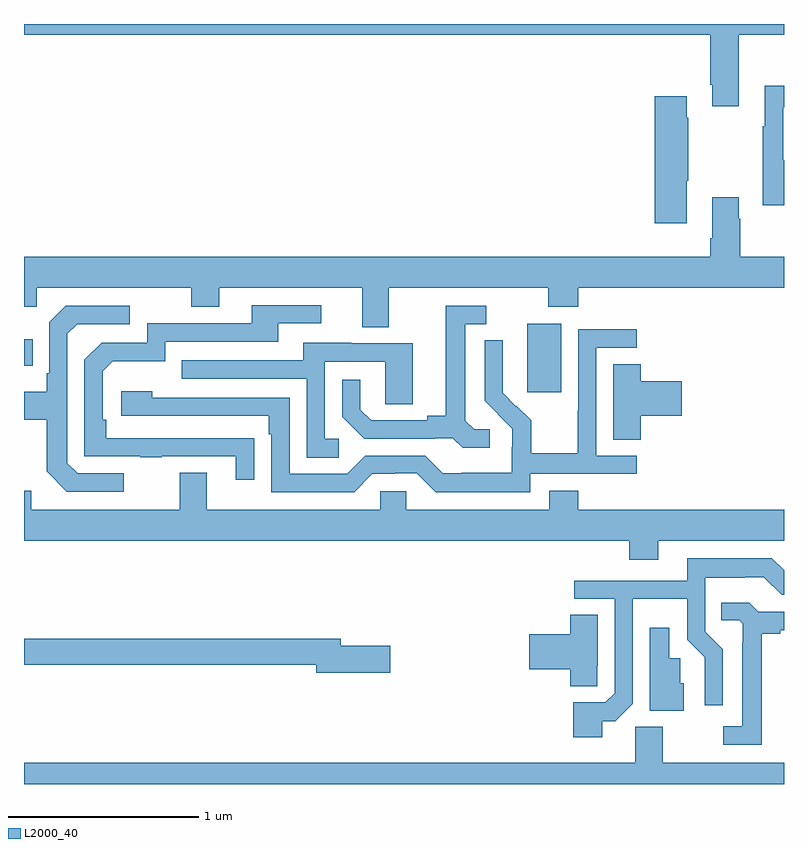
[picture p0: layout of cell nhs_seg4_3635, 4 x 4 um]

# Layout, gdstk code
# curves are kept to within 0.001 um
import gdstk
lib = gdstk.Library(unit=1e-6, precision=1e-09)
def R(c, l, rs):  # rectangles x0, y0, x1, y1
    for r in rs: c.add(gdstk.rectangle(r[:2], r[2:], *l))
def P(c, l, *ps):  # polygons
    for p in ps: c.add(gdstk.Polygon(p, *l))
L2000_40 = (2000, 40)

nhs_seg4_3635 = lib.new_cell('nhs_seg4_3635')
R(nhs_seg4_3635, L2000_40, [(305.648,770.961,305.827,771.322), (303,771.101,303.047,771.241)])
P(nhs_seg4_3635, L2000_40, [(303,772.844),(306.611,772.844),(306.611,772.579),(306.623,772.579),(306.623,772.467),(306.763,772.467),(306.763,772.844),(307,772.844),(307,772.9),(303,772.9)],
  [(307,772.183),(306.996,772.183),(306.996,772.463),(307,772.463),(307,772.576),(306.899,772.576),(306.899,772.363),(306.888,772.363),(306.888,771.947),(307,771.947)],
  [(306.487,772.075),(306.495,772.075),(306.495,772.406),(306.487,772.406),(306.487,772.519),(306.32,772.519),(306.32,771.852),(306.487,771.852)],
  [(304.921,771.512),(305.758,771.512),(305.758,771.413),(305.918,771.413),(305.918,771.512),(307,771.512),(307,771.676),(306.771,771.676),(306.771,771.875),(306.763,771.875),(306.763,771.988),(306.623,771.988),(306.623,771.772),(306.611,771.772),(306.611,771.676),(303,771.676),(303,771.413),(303.066,771.413),(303.066,771.512),(303.88,771.512),(303.88,771.413),(304.027,771.413),(304.027,771.512),(304.781,771.512),(304.781,771.304),(304.921,771.304)],
  [(304.211,770.72),(303.434,770.721),(303.434,770.818),(303.414,770.818),(303.414,771.072),(303.467,771.125),(303.744,771.125),(303.744,771.228),(304.339,771.228),(304.339,771.324),(304.564,771.324),(304.564,771.42),(304.199,771.42),(304.199,771.324),(303.648,771.324),(303.648,771.222),(303.408,771.222),(303.318,771.132),(303.318,770.625),(303.613,770.625),(303.613,770.62),(303.725,770.62),(303.725,770.625),(304.115,770.625),(304.115,770.502),(304.211,770.502)],
  [(303.526,770.535),(303.282,770.535),(303.228,770.589),(303.228,771.27),(303.279,771.321),(303.556,771.321),(303.556,771.417),(303.219,771.417),(303.132,771.33),(303.132,771.061),(303.12,771.061),(303.12,770.965),(303,770.965),(303,770.818),(303.12,770.818),(303.12,770.545),(303.225,770.439),(303.526,770.439)],
  [(305.452,770.766),(305.37,770.766),(305.323,770.813),(305.323,771.321),(305.434,771.321),(305.434,771.417),(305.219,771.417),(305.219,770.837),(305.123,770.837),(305.123,770.814),(304.828,770.814),(304.771,770.871),(304.771,771.028),(304.674,771.028),(304.674,770.834),(304.79,770.718),(305.162,770.718),(305.162,770.721),(305.256,770.721),(305.308,770.669),(305.452,770.669)],
  [(305.664,770.532),(306.226,770.532),(306.226,770.628),(306.012,770.628),(306.012,771.195),(306.226,771.195),(306.226,771.294),(305.916,771.294),(305.916,770.864),(305.914,770.864),(305.914,770.641),(305.669,770.641),(305.669,770.815),(305.592,770.892),(305.589,770.889),(305.519,770.96),(305.52,771.236),(305.424,771.236),(305.424,770.918),(305.57,770.77),(305.57,770.673),(305.568,770.673),(305.568,770.539),(305.305,770.539),(305.305,770.535),(305.205,770.535),(305.112,770.628),(304.797,770.628),(304.701,770.532),(304.398,770.532),(304.398,770.934),(303.674,770.934),(303.674,770.968),(303.513,770.968),(303.513,770.838),(304.289,770.838),(304.289,770.741),(304.302,770.741),(304.302,770.436),(304.737,770.436),(304.833,770.532),(304.952,770.532),(304.952,770.535),(305.067,770.535),(305.167,770.435),(305.664,770.435)],
  [(304.657,770.718),(304.584,770.718),(304.584,771.123),(304.902,771.123),(304.902,770.899),(305.047,770.899),(305.047,771.219),(304.723,771.219),(304.723,771.223),(304.469,771.223),(304.469,771.129),(303.829,771.129),(303.829,771.033),(304.488,771.033),(304.488,770.617),(304.657,770.617)],
  [(306.245,770.837),(306.463,770.837),(306.463,771.02),(306.245,771.02),(306.245,771.11),(306.101,771.11),(306.101,770.713),(306.245,770.713)],
  [(306.337,770.18),(307,770.18),(307,770.344),(305.918,770.344),(305.918,770.443),(305.765,770.443),(305.765,770.344),(305.013,770.344),(305.013,770.442),(304.875,770.442),(304.875,770.344),(303.961,770.344),(303.961,770.539),(303.821,770.539),(303.821,770.344),(303.037,770.344),(303.037,770.443),(303,770.443),(303,770.18),(306.185,770.18),(306.185,770.081),(306.337,770.081)],
  [(306.043,769.231),(306.111,769.231),(306.204,769.323),(306.204,769.874),(306.492,769.874),(306.492,769.658),(306.584,769.566),(306.584,769.314),(306.678,769.314),(306.678,769.608),(306.585,769.701),(306.585,769.985),(306.794,769.985),(306.794,769.989),(306.894,769.989),(306.987,769.896),(307,769.896),(307,770.024),(306.935,770.089),(306.491,770.089),(306.491,769.971),(305.895,769.971),(305.895,769.875),(306.108,769.875),(306.108,769.377),(306.06,769.329),(305.891,769.329),(305.891,769.146),(306.043,769.146)],
  [(306.883,769.69),(306.979,769.69),(306.979,769.71),(307,769.71),(307,769.806),(306.864,769.806),(306.816,769.853),(306.67,769.853),(306.67,769.761),(306.765,769.761),(306.783,769.743),(306.783,769.643),(306.779,769.643),(306.779,769.203),(306.681,769.203),(306.681,769.107),(306.883,769.107)],
  [(306.018,769.522),(306.019,769.522),(306.019,769.79),(305.876,769.79),(305.876,769.688),(305.658,769.688),(305.658,769.505),(305.876,769.505),(305.876,769.414),(306.018,769.414)],
  [(306.472,769.431),(306.453,769.431),(306.453,769.563),(306.397,769.563),(306.397,769.723),(306.293,769.723),(306.293,769.286),(306.472,769.286)],
  [(304.927,769.628),(304.666,769.628),(304.666,769.664),(303,769.664),(303,769.528),(304.538,769.528),(304.538,769.486),(304.927,769.486)],
  [(307,769.012),(306.363,769.012),(306.363,769.201),(306.216,769.201),(306.216,769.012),(303,769.012),(303,768.9),(307,768.9)])

lib.write_gds('nhs_seg4_3635.gds')
